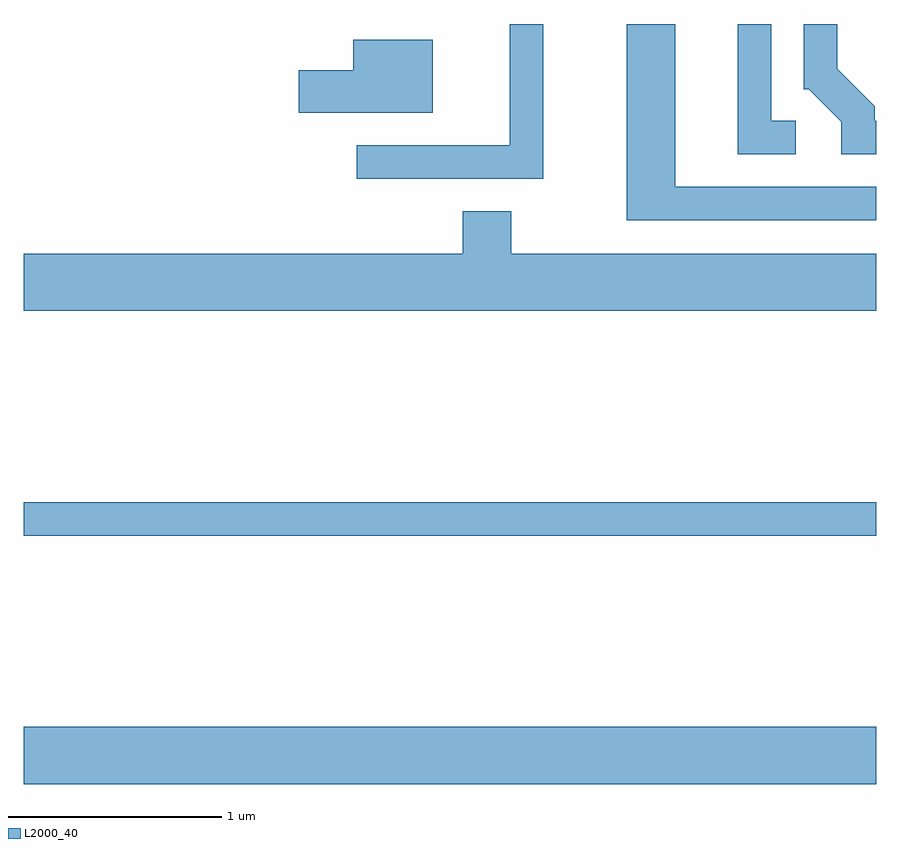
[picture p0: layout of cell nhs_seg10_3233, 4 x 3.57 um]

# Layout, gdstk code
import gdstk
lib = gdstk.Library(unit=1e-6, precision=1e-09)
def R(c, l, rs):  # rectangles x0, y0, x1, y1
    for r in rs: c.add(gdstk.rectangle(r[:2], r[2:], *l))
def P(c, l, *ps):  # polygons
    for p in ps: c.add(gdstk.Polygon(p, *l))
L2000_40 = (2000, 40)

nhs_seg10_3233 = lib.new_cell('nhs_seg10_3233')
R(nhs_seg10_3233, L2000_40, [(279.611,2184.956,283.611,2185.224), (279.611,2186.121,283.611,2186.279)])
P(nhs_seg10_3233, L2000_40, [(283.611,2188.069),(283.604,2188.069),(283.604,2188.137),(283.429,2188.312),(283.429,2188.522),(283.271,2188.522),(283.271,2188.216),(283.294,2188.216),(283.446,2188.064),(283.446,2187.911),(283.611,2187.911)],
  [(282.049,2188.522),(281.891,2188.522),(281.891,2187.954),(281.173,2187.954),(281.173,2187.796),(282.049,2187.796)],
  [(283.233,2188.069),(283.119,2188.069),(283.119,2188.522),(282.961,2188.522),(282.961,2187.911),(283.233,2187.911)],
  [(283.611,2187.759),(282.669,2187.759),(282.669,2188.522),(282.441,2188.522),(282.441,2187.601),(283.611,2187.601)],
  [(281.529,2188.449),(281.156,2188.449),(281.156,2188.304),(280.901,2188.304),(280.901,2188.106),(281.529,2188.106)],
  [(283.611,2187.444),(281.899,2187.444),(281.899,2187.644),(281.671,2187.644),(281.671,2187.444),(279.611,2187.444),(279.611,2187.176),(283.611,2187.176)])

lib.write_gds('nhs_seg10_3233.gds')
